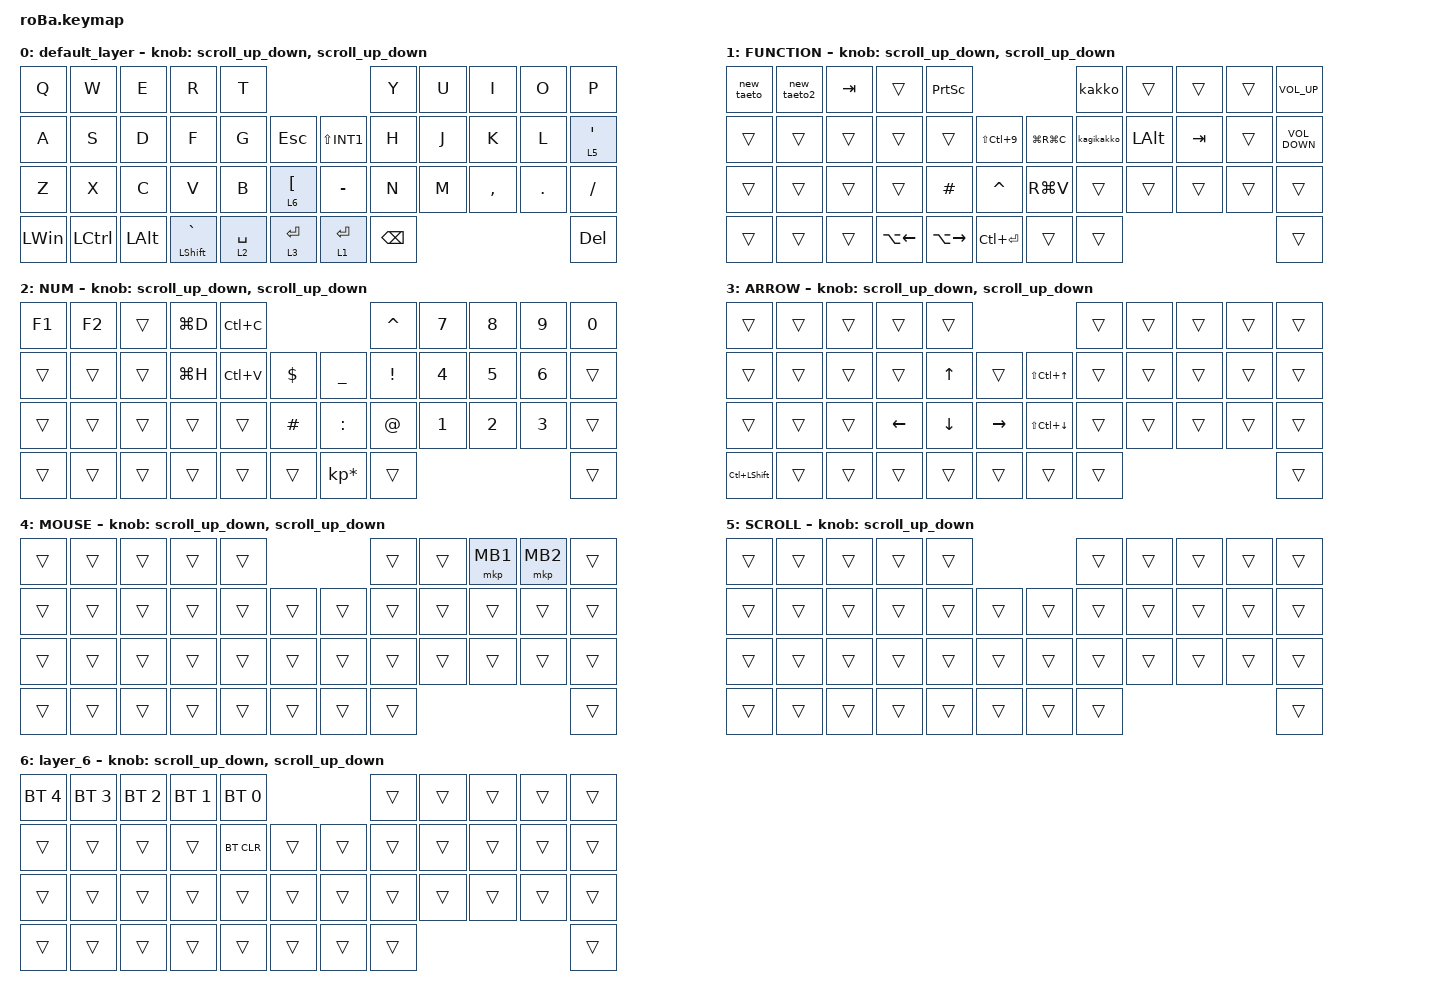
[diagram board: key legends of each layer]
// ★スクロールの移動量

#define ZMK_POINTING_DEFAULT_SCRL_VAL 100

#include <input/processors.dtsi>
#include <dt-bindings/zmk/input_transform.h>
#include <zephyr/dt-bindings/input/input-event-codes.h>
#include <behaviors.dtsi>
#include <dt-bindings/zmk/bt.h>
#include <dt-bindings/zmk/keys.h>
#include <dt-bindings/zmk/pointing.h>

&mt {
    flavor = "balanced";
    quick-tap-ms = <0>;
};

&lt {
    flavor = "tap-preferred";
    require-prior-idle-ms = <200>;
    tapping-term-ms = <250>;
    quick-tap-ms = <300>;
};

&trackball {
};

/ {
    input_processors {
        mouse_temp_layer_no_typing: mouse_temp_layer_no_typing {
            compatible = "zmk,input-processor-temp-layer";
            #input-processor-cells = <2>;
            require-prior-idle-ms = <500>;
        };
    };

    trackball_listener {
        compatible = "zmk,input-listener";
        device = <&trackball>;
        input-processors = <&mouse_temp_layer_no_typing 4 700>;

        scroll_layer {
            layers = <5>;
            input-processors =
                <&zip_xy_to_scroll_mapper>,
                <&zip_scroll_transform INPUT_TRANSFORM_Y_INVERT>,
                <&zip_scroll_scaler 1 10>;
        };
    };

    combos { compatible = "zmk,combos"; };

    macros {
        to_layer_0: to_layer_0 {
            compatible = "zmk,behavior-macro-one-param";
            #binding-cells = <1>;
            bindings = <&to 0 &macro_param_1to1 &kp MACRO_PLACEHOLDER>;
            label = "TO_LAYER_0";
        };

        new_taeto: new_taeto {
            compatible = "zmk,behavior-macro";
            #binding-cells = <0>;
            bindings = <&kp LS(Y) &kp A &kp M &kp A &kp G &kp A &kp K &kp U &kp N7 &kp N2 &kp N5 &kp N0>;
            label = "NEW_TAETO";
        };

        new_taeto2: new_taeto2 {
            compatible = "zmk,behavior-macro";
            #binding-cells = <0>;
            bindings = <&kp LS(S) &kp T &kp A &kp A &kp K &kp I &kp A &kp T &kp U &kp O &kp E &kp N8>;
            label = "NEW_TAETO2";
        };

        kakko: kakko {
            compatible = "zmk,behavior-macro";
            #binding-cells = <0>;
            bindings = <&kp STAR &kp LPAR>;
            label = "KAKKO";
        };

        kagikakko: kagikakko {
            compatible = "zmk,behavior-macro";
            #binding-cells = <0>;
            bindings = <&kp RIGHT_BRACKET &kp BACKSLASH>;
            label = "KAGIKAKKO";
        };
    };

    behaviors {
        lt_to_layer_0: lt_to_layer_0 {
            compatible = "zmk,behavior-hold-tap";
            label = "LAYER_TAP_TO_0";
            bindings = <&mo>, <&to_layer_0>;

            #binding-cells = <2>;
            tapping-term-ms = <200>;
        };

        scroll_up_down: behavior_sensor_rotate_mouse_wheel_up_down {
            compatible = "zmk,behavior-sensor-rotate";
            #sensor-binding-cells = <0>;
            bindings = <&msc SCRL_DOWN>, <&msc SCRL_UP>;

            tap-ms = <20>;
        };
    };

    keymap {
        compatible = "zmk,keymap";

        default_layer {
            bindings = <
&kp Q         &kp W             &kp E         &kp R                 &kp T                                              &kp Y          &kp U  &kp I      &kp O    &kp P
&kp A         &kp S             &kp D         &kp F                 &kp G        &kp ESCAPE              &kp LS(INT1)  &kp H          &kp J  &kp K      &kp L    &lt 5 APOS
&kp Z         &kp X             &kp C         &kp V                 &kp B        &lt 6 LEFT_BRACKET      &kp MINUS     &kp N          &kp M  &kp COMMA  &kp DOT  &kp SLASH
&kp LEFT_WIN  &kp LEFT_CONTROL  &kp LEFT_ALT  &mt LEFT_SHIFT GRAVE  &lt 2 SPACE  &lt 3 ENTER             &lt 1 ENTER   &kp BACKSPACE                             &kp DEL
            >;

            // ★右親指を「&lt 5 SPACE」に変更！ここを押している間だけスクロールになります。

            sensor-bindings = <&scroll_up_down &scroll_up_down>;
        };

        FUNCTION {
            bindings = <
&new_taeto  &new_taeto2  &kp TAB  &trans        &kp PRINTSCREEN                                           &kakko      &trans        &trans   &trans  &kp C_VOLUME_UP
&trans      &trans       &trans   &trans        &trans           &kp LS(LC(NUMBER_9))      &kp LG(RG(C))  &kagikakko  &kp LEFT_ALT  &kp TAB  &trans  &kp C_VOLUME_DOWN
&trans      &trans       &trans   &trans        &kp HASH         &kp CARET                 &kp RG(V)      &trans      &trans        &trans   &trans  &trans
&trans      &trans       &trans   &kp LA(LEFT)  &kp LA(RIGHT)    &kp LC(ENTER)             &trans         &trans                                     &trans
            >;

            sensor-bindings = <&scroll_up_down &scroll_up_down>;
        };

        NUM {
            bindings = <
&kp F1  &kp F2  &trans  &kp LG(D)  &kp LC(C)                                   &kp CARET        &kp N7  &kp N8  &kp N9  &kp N0
&trans  &trans  &trans  &kp LG(H)  &kp LC(V)  &kp DOLLAR      &kp UNDERSCORE   &kp EXCLAMATION  &kp N4  &kp N5  &kp N6  &trans
&trans  &trans  &trans  &trans     &trans     &kp HASH        &kp COLON        &kp AT           &kp N1  &kp N2  &kp N3  &trans
&trans  &trans  &trans  &trans     &trans     &trans          &kp KP_MULTIPLY  &trans                                   &trans
            >;

            // ここでの数字入力中にボールが揺れても、もうスクロールしません！

            sensor-bindings = <&scroll_up_down &scroll_up_down>;
        };

        ARROW {
            bindings = <
&trans              &trans  &trans  &trans          &trans                                                     &trans  &trans  &trans  &trans  &trans
&trans              &trans  &trans  &trans          &kp UP_ARROW    &trans               &kp LS(LC(UP_ARROW))  &trans  &trans  &trans  &trans  &trans
&trans              &trans  &trans  &kp LEFT_ARROW  &kp DOWN_ARROW  &kp RIGHT_ARROW      &kp LS(LC(DOWN))      &trans  &trans  &trans  &trans  &trans
&kp LC(LEFT_SHIFT)  &trans  &trans  &trans          &trans          &trans               &trans                &trans                          &trans
            >;

            sensor-bindings = <&scroll_up_down &scroll_up_down>;
        };

        MOUSE {
            bindings = <
&trans  &trans  &trans  &trans  &trans                      &trans  &trans  &mkp MB1  &mkp MB2  &trans
&trans  &trans  &trans  &trans  &trans  &trans      &trans  &trans  &trans  &trans    &trans    &trans
&trans  &trans  &trans  &trans  &trans  &trans      &trans  &trans  &trans  &trans    &trans    &trans
&trans  &trans  &trans  &trans  &trans  &trans      &trans  &trans                              &trans
            >;

            sensor-bindings = <&scroll_up_down &scroll_up_down>;
        };

        SCROLL {
            bindings = <
&trans  &trans  &trans  &trans  &trans                      &trans  &trans  &trans  &trans  &trans
&trans  &trans  &trans  &trans  &trans  &trans      &trans  &trans  &trans  &trans  &trans  &trans
&trans  &trans  &trans  &trans  &trans  &trans      &trans  &trans  &trans  &trans  &trans  &trans
&trans  &trans  &trans  &trans  &trans  &trans      &trans  &trans                          &trans
            >;

            // このレイヤー（Layer 5）にいる時だけ、ボールがホイールとして動きます！

            sensor-bindings = <&scroll_up_down>;
        };

        layer_6 {
            bindings = <
&bt BT_SEL 4  &bt BT_SEL 3  &bt BT_SEL 2  &bt BT_SEL 1  &bt BT_SEL 0                      &trans  &trans  &trans  &trans  &trans
&trans        &trans        &trans        &trans        &bt BT_CLR    &trans      &trans  &trans  &trans  &trans  &trans  &trans
&trans        &trans        &trans        &trans        &trans        &trans      &trans  &trans  &trans  &trans  &trans  &trans
&trans        &trans        &trans        &trans        &trans        &trans      &trans  &trans                          &trans
            >;

            sensor-bindings = <&scroll_up_down &scroll_up_down>;
        };
    };
};
